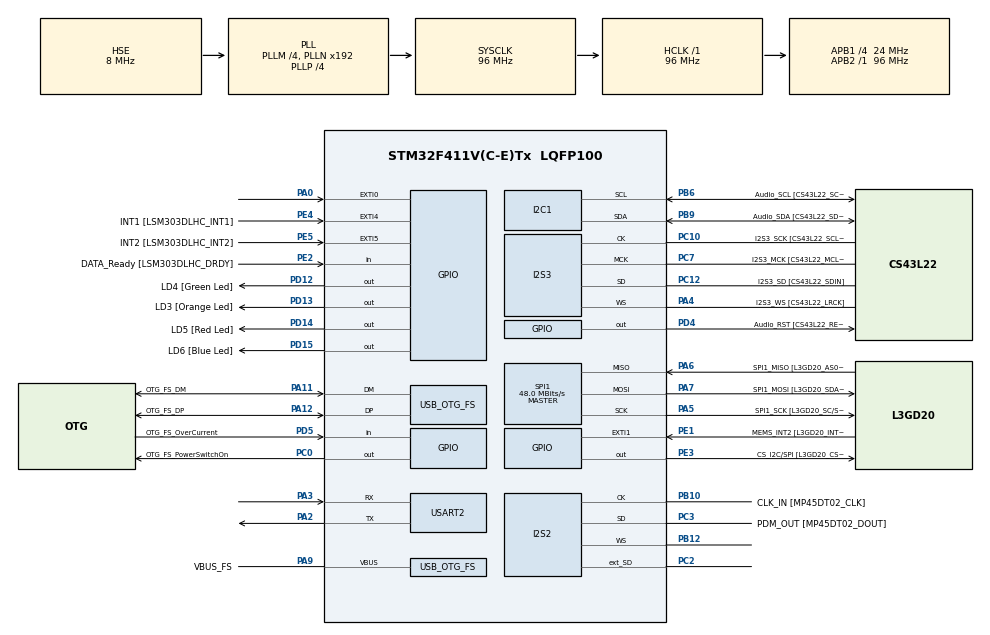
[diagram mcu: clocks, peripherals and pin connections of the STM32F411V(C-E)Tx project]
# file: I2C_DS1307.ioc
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I2S2.AudioFreq=I2S_AUDIOFREQ_96K
I2S2.ErrorAudioFreq=0.15 %
I2S2.FullDuplexMode=I2S_FULLDUPLEXMODE_ENABLE
I2S2.Instance=SPI$Index
I2S2.RealAudioFreq=96.153 KHz
I2S2.VirtualMode=I2S_MODE_MASTER
I2S3.AudioFreq=I2S_AUDIOFREQ_96K
I2S3.ErrorAudioFreq=-6.99 %
I2S3.FullDuplexMode=I2S_FULLDUPLEXMODE_DISABLE
I2S3.Instance=SPI$Index
I2S3.RealAudioFreq=89.285 KHz
I2S3.VirtualMode=I2S_MODE_MASTER
Mcu.Family=STM32F4
Mcu.Name=STM32F411V(C-E)Tx
Mcu.Package=LQFP100
NVIC.OTG_FS_IRQn=true\:0\:0\:false\:false\:true\:true\:true\:true
NVIC.PriorityGroup=NVIC_PRIORITYGROUP_0
PA0-WKUP.GPIO_ModeDefaultEXTI=GPIO_MODE_EVT_RISING
PA0-WKUP.Signal=GPXTI0
PA10.GPIO_Label=OTG_FS_ID
PA10.Signal=USB_OTG_FS_ID
PA11.GPIO_Label=OTG_FS_DM
PA11.Mode=Host_Only
PA11.Signal=USB_OTG_FS_DM
PA12.GPIO_Label=OTG_FS_DP
PA12.Mode=Host_Only
PA12.Signal=USB_OTG_FS_DP
PA13.GPIO_Label=SWDIO
PA13.Mode=Serial_Wire
PA13.Signal=SYS_JTMS-SWDIO
PA14.GPIO_Label=SWCLK
PA14.Mode=Serial_Wire
PA14.Signal=SYS_JTCK-SWCLK
PA2.Mode=Asynchronous
PA2.Signal=USART2_TX
PA3.Mode=Asynchronous
PA3.Signal=USART2_RX
PA4.GPIO_Label=I2S3_WS [CS43L22_LRCK]
PA4.GPIO_Mode=GPIO_MODE_AF_PP
PA4.GPIO_PuPd=GPIO_NOPULL
PA4.GPIO_Speed=GPIO_SPEED_FREQ_LOW
PA4.Mode=Half_Duplex_Master
PA4.Signal=I2S3_WS
PA5.GPIO_Label=SPI1_SCK [L3GD20_SC/SPC]
PA5.Mode=Full_Duplex_Master
PA5.Signal=SPI1_SCK
PA6.GPIO_Label=SPI1_MISO [L3GD20_AS0/SDO]
PA6.Mode=Full_Duplex_Master
PA6.Signal=SPI1_MISO
PA7.GPIO_Label=SPI1_MOSI [L3GD20_SDA/SDI/SDO]
PA7.Mode=Full_Duplex_Master
PA7.Signal=SPI1_MOSI
PA9.GPIO_Label=VBUS_FS
PA9.Mode=Activate_VBUS
PA9.Signal=USB_OTG_FS_VBUS
PB10.GPIO_Label=CLK_IN [MP45DT02_CLK]
PB10.Mode=Full_Duplex_Master
PB10.Signal=I2S2_CK
PB12.Mode=Full_Duplex_Master
PB12.Signal=I2S2_WS
PB3.GPIO_Label=SWO
PB3.Signal=SYS_JTDO-SWO
PB6.GPIO_Label=Audio_SCL [CS43L22_SCL]
PB6.GPIO_Mode=GPIO_MODE_AF_OD
PB6.GPIO_Pu=GPIO_PULLUP
PB6.GPIO_PuPd=GPIO_NOPULL
PB6.GPIO_Speed=GPIO_SPEED_FREQ_LOW
PB6.Mode=I2C
PB6.Signal=I2C1_SCL
PB9.GPIO_Label=Audio_SDA [CS43L22_SDA]
PB9.GPIO_Mode=GPIO_MODE_AF_OD
PB9.GPIO_Pu=GPIO_PULLUP
PB9.GPIO_PuPd=GPIO_NOPULL
PB9.GPIO_Speed=GPIO_SPEED_FREQ_LOW
PB9.Mode=I2C
PB9.Signal=I2C1_SDA
PC0.GPIO_Label=OTG_FS_PowerSwitchOn
PC0.PinState=GPIO_PIN_SET
PC0.Signal=GPIO_Output
PC10.GPIO_Label=I2S3_SCK [CS43L22_SCLK]
PC10.GPIO_Mode=GPIO_MODE_AF_PP
PC10.GPIO_PuPd=GPIO_NOPULL
PC10.GPIO_Speed=GPIO_SPEED_FREQ_LOW
PC10.Mode=Half_Duplex_Master
PC10.Signal=I2S3_CK
PC12.GPIO_Label=I2S3_SD [CS43L22_SDIN]
PC12.GPIO_Mode=GPIO_MODE_AF_PP
PC12.GPIO_PuPd=GPIO_NOPULL
PC12.GPIO_Speed=GPIO_SPEED_FREQ_LOW
PC12.Mode=Half_Duplex_Master
PC12.Signal=I2S3_SD
PC14-OSC32_IN.GPIO_Label=PC14-OSC32_IN
PC14-OSC32_IN.Mode=LSE-External-Oscillator
PC14-OSC32_IN.Signal=RCC_OSC32_IN
PC15-OSC32_OUT.GPIO_Label=PC15-OSC32_OUT
PC15-OSC32_OUT.Mode=LSE-External-Oscillator
PC15-OSC32_OUT.Signal=RCC_OSC32_OUT
PC2.Mode=Full_Duplex_Master
PC2.Signal=I2S2_ext_SD
PC3.GPIO_Label=PDM_OUT [MP45DT02_DOUT]
PC3.Mode=Full_Duplex_Master
PC3.Signal=I2S2_SD
PC7.GPIO_Label=I2S3_MCK [CS43L22_MCLK]
PC7.GPIO_Mode=GPIO_MODE_AF_PP
PC7.GPIO_PuPd=GPIO_NOPULL
PC7.GPIO_Speed=GPIO_SPEED_FREQ_LOW
PC7.Mode=Master_Clock_Activated
PC7.Signal=I2S3_MCK
PD12.GPIO_Label=LD4 [Green Led]
PD12.GPIO_PuPd=GPIO_NOPULL
PD12.GPIO_Speed=GPIO_SPEED_FREQ_LOW
PD12.Signal=GPIO_Output
PD13.GPIO_Label=LD3 [Orange Led]
PD13.GPIO_PuPd=GPIO_NOPULL
PD13.GPIO_Speed=GPIO_SPEED_FREQ_LOW
PD13.Signal=GPIO_Output
PD14.GPIO_Label=LD5 [Red Led]
PD14.GPIO_PuPd=GPIO_NOPULL
PD14.GPIO_Speed=GPIO_SPEED_FREQ_LOW
PD14.Signal=GPIO_Output
PD15.GPIO_Label=LD6 [Blue Led]
PD15.GPIO_PuPd=GPIO_NOPULL
PD15.GPIO_Speed=GPIO_SPEED_FREQ_LOW
PD15.Signal=GPIO_Output
PD4.GPIO_Label=Audio_RST [CS43L22_RESET]
PD4.Signal=GPIO_Output
PD5.GPIO_Label=OTG_FS_OverCurrent
PD5.Signal=GPIO_Input
PE1.GPIO_Label=MEMS_INT2 [L3GD20_INT2]
PE1.GPIO_ModeDefaultEXTI=GPIO_MODE_EVT_RISING
PE1.Signal=GPXTI1
PE2.GPIO_Label=DATA_Ready [LSM303DLHC_DRDY]
PE2.Signal=GPIO_Input
PE3.GPIO_Label=CS_I2C/SPI [L3GD20_CS_I2C/SPI]
PE3.Signal=GPIO_Output
PE4.GPIO_Label=INT1 [LSM303DLHC_INT1]
PE4.GPIO_ModeDefaultEXTI=GPIO_MODE_EVT_RISING
PE4.Signal=GPXTI4
PE5.GPIO_Label=INT2 [LSM303DLHC_INT2]
PE5.GPIO_ModeDefaultEXTI=GPIO_MODE_EVT_RISING
PE5.Signal=GPXTI5
PH0\ -\ OSC_IN.GPIO_Label=PH0-OSC_IN
PH0\ -\ OSC_IN.Mode=HSE-External-Oscillator
PH0\ -\ OSC_IN.Signal=RCC_OSC_IN
PH1\ -\ OSC_OUT.GPIO_Label=PH1-OSC_OUT
PH1\ -\ OSC_OUT.Mode=HSE-External-Oscillator
PH1\ -\ OSC_OUT.Signal=RCC_OSC_OUT
ProjectManager.HeapSize=0x200
ProjectManager.StackSize=0x400
ProjectManager.TargetToolchain=Makefile
RCC.48MHZClocksFreq_Value=48000000
RCC.AHBFreq_Value=96000000
RCC.APB1CLKDivider=RCC_HCLK_DIV4
RCC.APB1Freq_Value=24000000
RCC.APB1TimFreq_Value=48000000
RCC.APB2Freq_Value=96000000
RCC.APB2TimFreq_Value=96000000
RCC.CortexFreq_Value=96000000
RCC.HCLKFreq_Value=96000000
RCC.HSE_VALUE=8000000
RCC.HSI_VALUE=16000000
RCC.PLLI2SM=5
RCC.PLLI2SN=200
RCC.PLLM=4
RCC.PLLP=RCC_PLLP_DIV4
RCC.PLLQ=8
RCC.SYSCLKFreq_VALUE=96000000
RCC.SYSCLKSource=RCC_SYSCLKSOURCE_PLLCLK
RCC.VCOOutputFreq_Value=384000000
SPI1.BaudRatePrescaler=SPI_BAUDRATEPRESCALER_2
SPI1.CalculateBaudRate=48.0 MBits/s
SPI1.Direction=SPI_DIRECTION_2LINES
SPI1.Mode=SPI_MODE_MASTER
SPI1.VirtualType=VM_MASTER
USART2.VirtualMode=VM_ASYNC
USB_HOST.BSP.number=1
USB_HOST.USBH_HandleTypeDef=hUsbHostFS
USB_HOST.VirtualModeFS=Cdc
USB_HOST0.BSP.STBoard=false
USB_HOST0.BSP.api=Unknown
USB_HOST0.BSP.instance=PC0
USB_HOST0.BSP.ip=GPIO
USB_HOST0.BSP.mode=Output
USB_HOST0.BSP.name=Drive_VBUS_FS
USB_HOST0.BSP.solution=PC0
USB_OTG_FS.VirtualMode=Host_Only
USB_OTG_FS.phy_itface=HCD_PHY_EMBEDDED
VP_USB_HOST_VS_USB_HOST_CDC_FS.Mode=CDC_FS
board=STM32F411E-DISCO

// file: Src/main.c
/* USER CODE BEGIN Header */
/**
  ******************************************************************************
  * @file           : main.c
  * @brief          : Main progrpm body
  ******************************************************************************
  * @attention
  *
  * Copyright (c) 2023 STMicroelectronics.
  * All rights reserved.
  *
  * This software is licensed under terms that can be found in the LICENSE file
  * in the root directory of this software component.
  * If no LICENSE file comes with this software, it is provided AS-IS.
  *
  ******************************************************************************
  */
/* USER CODE END Header */
#include "main.h"
#include "i2c.h"
#include "i2s.h"
#include "spi.h"
#include "usart.h"
#include "usb_host.h"
#include "gpio.h"
#include <stdio.h>
#include <string.h>

#include "ds1307.h"

#define SET_TIME 0

DS1307_Time_t time;
const char weekday[7][10] = {"Sunday", "Monday", "Tuesday", "Wednesday", "Thursday", "Friday", "Saturday"};

void SystemClock_Config(void);
void PeriphCommonClock_Config(void);
void MX_USB_HOST_Process(void);

int main(void)
{
  /* USER CODE BEGIN 1 */
  #if SET_TIME == 1
    time.year = 23;
    time.month = 8;
    time.date = 29;
    time.day = 3;

    // 12:30 PM
    time.hours = 6;
    time.minutes = 52;
    time.seconds = 20;
    time.mode12h = 1;
    time.pm = 0;
  #endif

  char time_rx[50] = {};

  /* USER CODE END 1 */

  /* MCU Configuration--------------------------------------------------------*/

  /* Reset of all peripherals, Initializes the Flash interface and the Systick. */
  HAL_Init();

  /* Configure the system clock */
  SystemClock_Config();

/* Configure the peripherals common clocks */
  PeriphCommonClock_Config();

  /* Initialize all configured peripherals */
  MX_GPIO_Init();
  MX_I2C1_Init();
  MX_I2S2_Init();
  MX_I2S3_Init();
  MX_SPI1_Init();
  MX_USB_HOST_Init();
  MX_USART2_UART_Init();

  /* USER CODE BEGIN 2 */

  #if SET_TIME == 1
    if (DS1307_WriteTime(&hi2c1, &time) == -1) {
      char error[] = "Error: Invalid time\r\n";
      HAL_UART_Transmit(&huart2, (uint8_t *)error, strlen(error), 100);
      return -1;
    }
  #endif

  /* USER CODE END 2 */

  /* Infinite loop */
  while (1)
  {
    MX_USB_HOST_Process();

    DS1307_ReadTime(&hi2c1, &time);
    sprintf(time_rx, "%s %02d/%02d/20%02d - Time: %02d:%02d:%02d %s\r\n",
      weekday[time.day-1] ,time.date, time.month, time.year, time.hours, time.minutes, time.seconds, (time.mode12h)==1 ? ((time.pm == 1) ? "PM" : "AM") : "" );
    HAL_UART_Transmit(&huart2, (uint8_t *)time_rx, strlen(time_rx), 100);

    HAL_GPIO_TogglePin(LD3_GPIO_Port, LD3_Pin); // Heartbeat decoration
    HAL_Delay(1000);
  }
}

void SystemClock_Config(void)
{
  RCC_OscInitTypeDef RCC_OscInitStruct = {0};
  RCC_ClkInitTypeDef RCC_ClkInitStruct = {0};

  /** Configure the main internal regulator output voltage
  */
  __HAL_RCC_PWR_CLK_ENABLE();
  __HAL_PWR_VOLTAGESCALING_CONFIG(PWR_REGULATOR_VOLTAGE_SCALE1);

  /** Initializes the RCC Oscillators according to the specified parpmeters
  * in the RCC_OscInitTypeDef structure.
  */
  RCC_OscInitStruct.OscillatorType = RCC_OSCILLATORTYPE_HSE;
  RCC_OscInitStruct.HSEState = RCC_HSE_ON;
  RCC_OscInitStruct.PLL.PLLState = RCC_PLL_ON;
  RCC_OscInitStruct.PLL.PLLSource = RCC_PLLSOURCE_HSE;
  RCC_OscInitStruct.PLL.PLLM = 4;
  RCC_OscInitStruct.PLL.PLLN = 192;
  RCC_OscInitStruct.PLL.PLLP = RCC_PLLP_DIV4;
  RCC_OscInitStruct.PLL.PLLQ = 8;
  if (HAL_RCC_OscConfig(&RCC_OscInitStruct) != HAL_OK)
  {
    Error_Handler();
  }

  /** Initializes the CPU, AHB and APB buses clocks
  */
  RCC_ClkInitStruct.ClockType = RCC_CLOCKTYPE_HCLK|RCC_CLOCKTYPE_SYSCLK
                              |RCC_CLOCKTYPE_PCLK1|RCC_CLOCKTYPE_PCLK2;
  RCC_ClkInitStruct.SYSCLKSource = RCC_SYSCLKSOURCE_PLLCLK;
  RCC_ClkInitStruct.AHBCLKDivider = RCC_SYSCLK_DIV1;
  RCC_ClkInitStruct.APB1CLKDivider = RCC_HCLK_DIV4;
  RCC_ClkInitStruct.APB2CLKDivider = RCC_HCLK_DIV1;

  if (HAL_RCC_ClockConfig(&RCC_ClkInitStruct, FLASH_LATENCY_3) != HAL_OK)
  {
    Error_Handler();
  }
}

void PeriphCommonClock_Config(void)
{
  RCC_PeriphCLKInitTypeDef PeriphClkInitStruct = {0};

  /** Initializes the peripherals clock
  */
  PeriphClkInitStruct.PeriphClockSelection = RCC_PERIPHCLK_I2S;
  PeriphClkInitStruct.PLLI2S.PLLI2SN = 200;
  PeriphClkInitStruct.PLLI2S.PLLI2SM = 5;
  PeriphClkInitStruct.PLLI2S.PLLI2SR = 2;
  if (HAL_RCCEx_PeriphCLKConfig(&PeriphClkInitStruct) != HAL_OK)
  {
    Error_Handler();
  }
}

void Error_Handler(void)
{
  __disable_irq();
  while (1)
  {
  }
}
